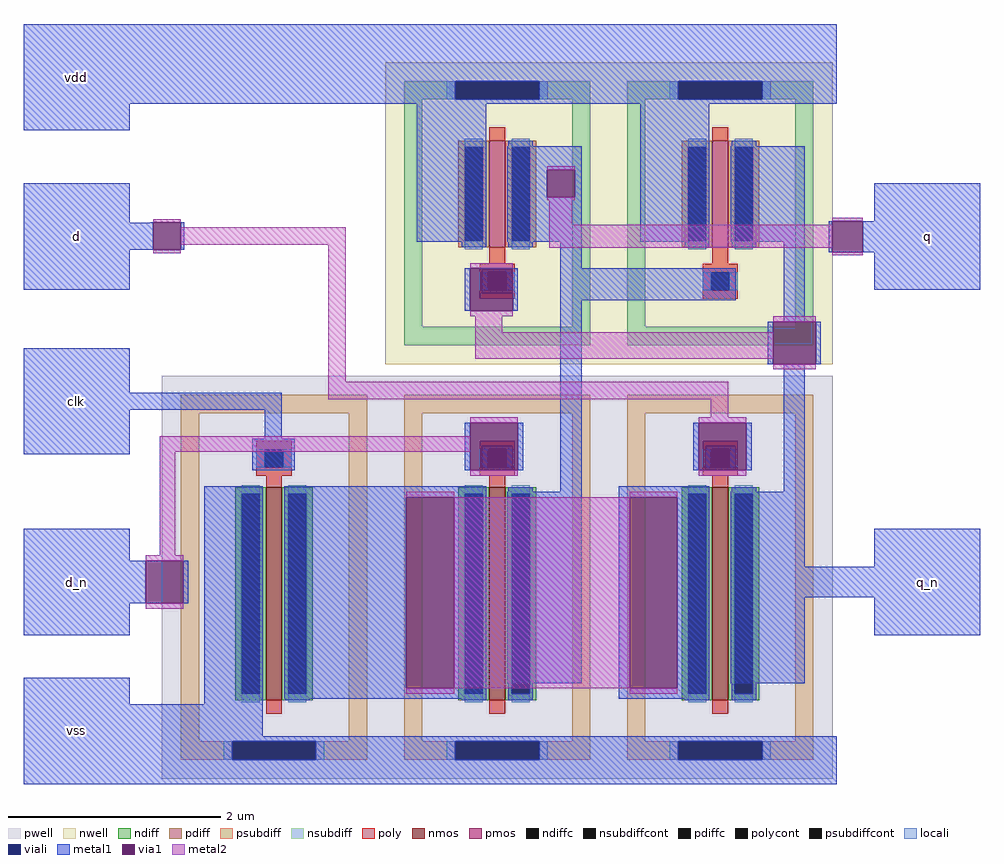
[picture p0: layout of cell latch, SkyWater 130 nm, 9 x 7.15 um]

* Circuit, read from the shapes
.subckt latch vdd vss q_n q d d_n clk
XM1 n1 clk vss vss sky130_fd_pr__nfet_01v8 w=2 l=0.15
XM2 q d_n n1 vss sky130_fd_pr__nfet_01v8 w=2 l=0.15
XM3 q_n d n1 vss sky130_fd_pr__nfet_01v8 w=2 l=0.15
XM4 q q_n vdd vdd sky130_fd_pr__pfet_01v8 w=1 l=0.15
XM5 q_n q vdd vdd sky130_fd_pr__pfet_01v8 w=1 l=0.15
.ends

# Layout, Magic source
magic
tech sky130A
magscale 1 2
<< pwell >>
rect 1330 -2580 1490 -2090
<< viali >>
rect 1852 -1362 2010 -1328
rect 2272 -1362 2430 -1328
rect 1432 -2604 1590 -2570
rect 1852 -2604 2010 -2570
rect 2272 -2604 2430 -2570
<< metal1 >>
rect 1040 -1328 2570 -1220
rect 1040 -1362 1852 -1328
rect 2010 -1362 2272 -1328
rect 2430 -1362 2570 -1328
rect 1040 -1370 2570 -1362
rect 1040 -1420 1240 -1370
rect 1040 -1594 1240 -1520
rect 1278 -1594 1284 -1593
rect 1040 -1645 1284 -1594
rect 1336 -1645 1342 -1593
rect 1780 -1630 1910 -1370
rect 1950 -1494 2090 -1450
rect 1950 -1546 2025 -1494
rect 2077 -1546 2090 -1494
rect 1950 -1630 2090 -1546
rect 2200 -1630 2330 -1370
rect 2370 -1630 2510 -1450
rect 2640 -1591 2840 -1520
rect 1040 -1720 1240 -1645
rect 2050 -1680 2090 -1630
rect 1870 -1760 1880 -1680
rect 1960 -1760 1970 -1680
rect 2050 -1740 2380 -1680
rect 1040 -1914 1240 -1830
rect 1040 -1946 1526 -1914
rect 1040 -2030 1240 -1946
rect 1494 -2000 1526 -1946
rect 1470 -2060 1550 -2000
rect 1870 -2060 1880 -1970
rect 1970 -2060 1980 -1970
rect 1040 -2230 1240 -2170
rect 1040 -2310 1270 -2230
rect 1340 -2310 1350 -2230
rect 1040 -2370 1240 -2310
rect 1040 -2500 1240 -2450
rect 1380 -2500 1490 -2090
rect 1530 -2110 1910 -2090
rect 2050 -2100 2090 -1740
rect 2470 -1780 2510 -1630
rect 2555 -1649 2561 -1591
rect 2619 -1649 2840 -1591
rect 2640 -1720 2840 -1649
rect 2440 -1860 2450 -1780
rect 2530 -1860 2540 -1780
rect 2300 -2060 2310 -1970
rect 2400 -2060 2410 -1970
rect 1530 -2470 1760 -2110
rect 1850 -2470 1910 -2110
rect 1950 -2460 2090 -2100
rect 2160 -2110 2330 -2090
rect 2470 -2100 2510 -1860
rect 1530 -2490 1910 -2470
rect 2160 -2470 2180 -2110
rect 2270 -2470 2330 -2110
rect 2370 -2241 2510 -2100
rect 2640 -2241 2840 -2170
rect 2370 -2299 2840 -2241
rect 2370 -2460 2510 -2299
rect 2640 -2370 2840 -2299
rect 2160 -2490 2330 -2470
rect 1040 -2560 1490 -2500
rect 1040 -2570 2570 -2560
rect 1040 -2604 1432 -2570
rect 1590 -2604 1852 -2570
rect 2010 -2604 2272 -2570
rect 2430 -2604 2570 -2570
rect 1040 -2650 2570 -2604
<< via1 >>
rect 1284 -1645 1336 -1593
rect 2025 -1546 2077 -1494
rect 1880 -1760 1960 -1680
rect 1880 -2060 1970 -1970
rect 1270 -2310 1340 -2230
rect 2561 -1649 2619 -1591
rect 2450 -1860 2530 -1780
rect 2310 -2060 2400 -1970
rect 1760 -2470 1850 -2110
rect 2180 -2470 2270 -2110
<< metal2 >>
rect 2025 -1494 2077 -1488
rect 2025 -1552 2077 -1546
rect 1284 -1593 1336 -1587
rect 2029 -1598 2072 -1552
rect 2561 -1591 2619 -1585
rect 1336 -1635 1646 -1602
rect 1284 -1651 1336 -1645
rect 1613 -1893 1646 -1635
rect 2029 -1641 2561 -1598
rect 2561 -1655 2619 -1649
rect 1880 -1680 1960 -1670
rect 1880 -1770 1960 -1760
rect 1890 -1800 1940 -1770
rect 2450 -1780 2530 -1770
rect 1890 -1850 2450 -1800
rect 2450 -1870 2530 -1860
rect 1613 -1926 2366 -1893
rect 2333 -1960 2366 -1926
rect 1880 -1970 1970 -1960
rect 1296 -2025 1880 -1996
rect 1296 -2220 1325 -2025
rect 1880 -2070 1970 -2060
rect 2310 -1970 2400 -1960
rect 2310 -2070 2400 -2060
rect 1760 -2110 1850 -2100
rect 2180 -2110 2270 -2100
rect 1270 -2230 1340 -2220
rect 1270 -2320 1340 -2310
rect 1850 -2470 2180 -2110
rect 1760 -2480 1850 -2470
rect 2180 -2480 2270 -2470
use sky130_fd_pr__nfet_01v8_26NUYT  sky130_fd_pr__nfet_01v8_26NUYT_0
transform 1 0 2351 0 1 -2261
box -211 -379 211 379
use sky130_fd_pr__pfet_01v8_7PK3FC  sky130_fd_pr__pfet_01v8_7PK3FC_0
transform 1 0 2351 0 1 -1576
box -211 -284 211 284
use sky130_fd_pr__nfet_01v8_26NUYT  XM1
transform 1 0 1931 0 1 -2261
box -211 -379 211 379
use sky130_fd_pr__nfet_01v8_26NUYT  XM4
transform 1 0 1511 0 1 -2261
box -211 -379 211 379
use sky130_fd_pr__pfet_01v8_7PK3FC  XM11
transform 1 0 1931 0 1 -1576
box -211 -284 211 284
<< labels >>
flabel metal1 1040 -2370 1240 -2170 0 FreeSans 256 0 0 0 d_n
port 5 nsew
flabel metal1 1040 -1720 1240 -1520 0 FreeSans 256 0 0 0 d
port 4 nsew
flabel metal1 1040 -2030 1240 -1830 0 FreeSans 256 0 0 0 clk
port 6 nsew
flabel metal1 1040 -2650 1240 -2450 0 FreeSans 256 0 0 0 vss
port 1 nsew
flabel metal1 1040 -1420 1240 -1220 0 FreeSans 256 0 0 0 vdd
port 0 nsew
flabel metal1 2640 -1720 2840 -1520 0 FreeSans 256 0 0 0 q
port 3 nsew
flabel metal1 2640 -2370 2840 -2170 0 FreeSans 256 0 0 0 q_n
port 2 nsew
<< end >>

# cell sky130_fd_pr__nfet_01v8_26NUYT: kit device sky130_fd_pr__nfet_01v8, w 2.0 l 0.15 m 1 nf 1 diffcov 100 polycov 100 guard 1 glc 0 grc 0 gtc 0 gbc 1 tbcov 100 rlcov 100 topc 1 botc 0 poverlap 0 doverlap 1 lmin 0.15 wmin 0.42 compatible {sky130_fd_pr__nfet_01v8 sky130_fd_pr__nfet_01v8_lvt sky130_fd_bs_flash__special_sonosfet_star sky130_fd_pr__nfet_g5v0d10v5 sky130_fd_pr__nfet_05v0_nvt sky130_fd_pr__nfet_03v3_nvt} full_metal 0 viasrc 100 viadrn 100 viagate 100 viagb 0 viagr 0 viagl 0 viagt 0

# cell sky130_fd_pr__pfet_01v8_7PK3FC: kit device sky130_fd_pr__pfet_01v8, w 1.0 l 0.15 m 1 nf 1 diffcov 100 polycov 100 guard 1 glc 0 grc 0 gtc 1 gbc 0 tbcov 100 rlcov 100 topc 0 botc 1 poverlap 0 doverlap 1 lmin 0.15 wmin 0.42 compatible {sky130_fd_pr__pfet_01v8 sky130_fd_pr__pfet_01v8_lvt sky130_fd_pr__pfet_01v8_hvt sky130_fd_pr__pfet_g5v0d10v5} full_metal 0 viasrc 100 viadrn 100 viagate 100 viagb 0 viagr 0 viagl 0 viagt 0
